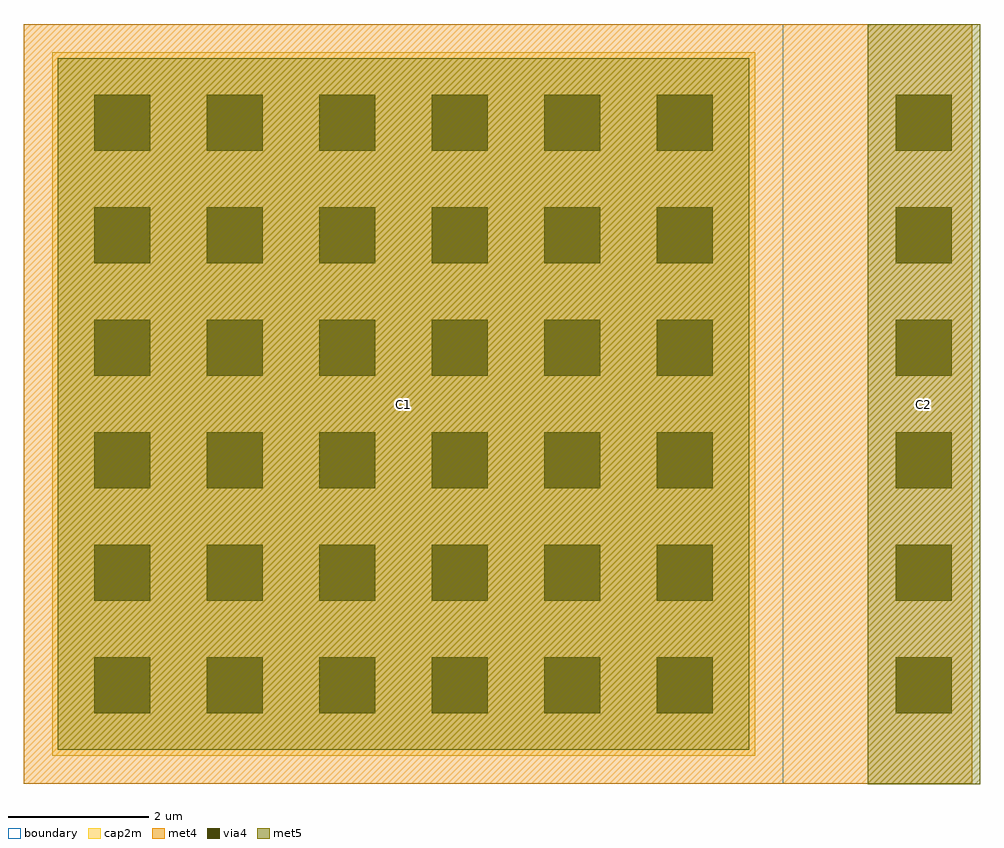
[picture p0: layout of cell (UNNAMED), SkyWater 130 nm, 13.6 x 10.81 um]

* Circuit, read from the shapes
.subckt (UNNAMED) C1 C2
XC1 C1 C2 sky130_fd_pr__cap_mim_m3_2 w=10 l=10
.ends

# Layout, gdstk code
import gdstk
lib = gdstk.Library(unit=1e-6, precision=1e-09)
def R(c, l, rs):  # rectangles x0, y0, x1, y1
    for r in rs: c.add(gdstk.rectangle(r[:2], r[2:], *l))
def A(c, l, x, y, w, h, nx, ny, dx, dy):  # array of equal rectangles
    R(c, l, [(x+i*dx, y+j*dy, x+i*dx+w, y+j*dy+h) for i in range(nx) for j in range(ny)])
met4 = (71, 20)
via4 = (71, 44)
met5 = (72, 20)
cap2m = (97, 44)
boundary = (235, 4)

c__unnamed_ = lib.new_cell('(UNNAMED)')
R(c__unnamed_, met4, [(-6.745,-5.4,6.745,5.4)])
A(c__unnamed_, via4, -5.745, -4.4, 0.8, 0.8, 6, 6, 1.6, 1.6)
A(c__unnamed_, via4, 5.655, -4.4, 0.8, 0.8, 1, 6, 0, 1.6)
R(c__unnamed_, met5, [(5.255,-5.405,6.855,5.405), (-6.265,-4.92,3.575,4.92)])
R(c__unnamed_, cap2m, [(-6.345,-5,3.655,5)])
R(c__unnamed_, boundary, [(-6.745,-5.4,4.055,5.4)])
c__unnamed_.add(gdstk.Label('C2', (6.055,0), layer=72, texttype=5))
c__unnamed_.add(gdstk.Label('C1', (-1.345,0), layer=72, texttype=5))

lib.write_gds('_UNNAMED_.gds')
